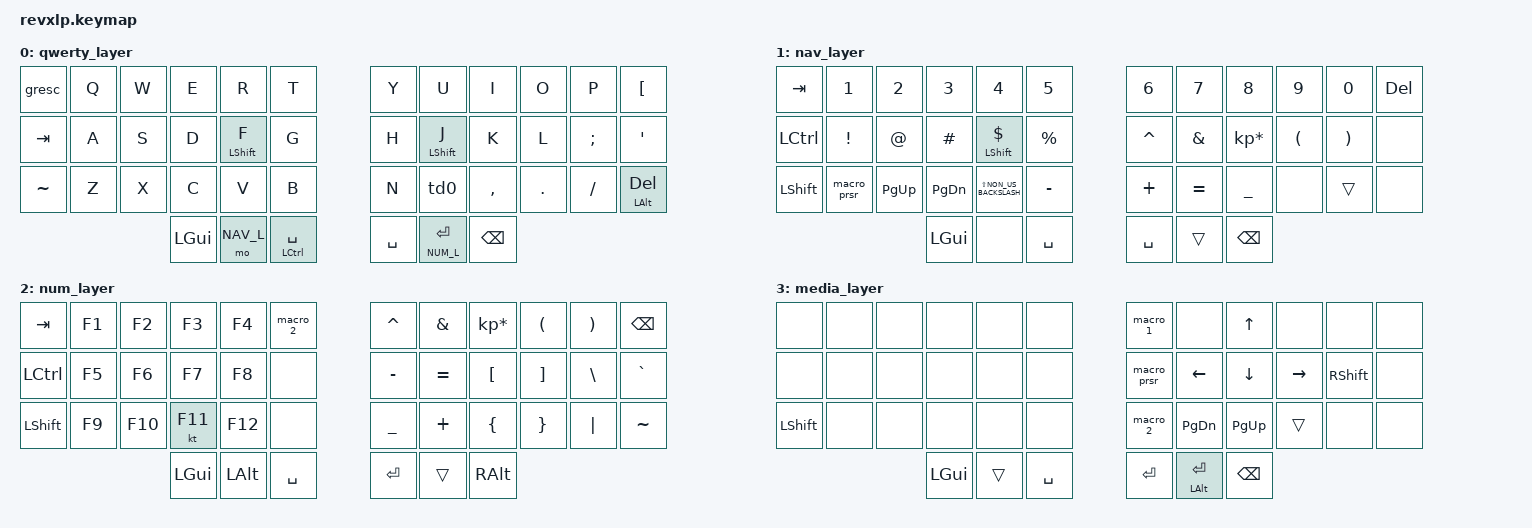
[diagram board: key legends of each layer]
/*
 * Copyright (c) 2020 The ZMK Contributors
 *
 * SPDX-License-Identifier: MIT
 */

#include <behaviors.dtsi>
#include <dt-bindings/zmk/keys.h>
#include <dt-bindings/zmk/bt.h>
#include <dt-bindings/zmk/backlight.h>

#define NAV_L 1
#define NUM_L 2
#define MED_L 3
#define FUN_L 4
#define QWERTY_BASE

/ {
    tap_dances {
    	shifty: shift_caps_word {
		compatible = "zmk,behavior-tap-dance";
		#binding-cells = <0>;
		tapping-term-ms = <150>;
		bindings = <&kp LSHFT>, <&caps_word>;
	};
    };

 behaviors {
        td0: td0 {
            compatible = "zmk,behavior-tap-dance";
            label = "TD0";
            #binding-cells = <0>;
            bindings = <&kp M>, <&kp RBKT>;
        };
    };

macros {
        macro_1: macro_1 {
            compatible = "zmk,behavior-macro";
            #binding-cells = <0>;
            bindings = <&kp LS(P) &kp LS(O) &kp LS(L) &kp J &kp I &kp N9 &kp N8 &kp AMPS &kp U &kp K>;
            label = "MACRO_1";
        };

        macro_2: macro_2 {
            compatible = "zmk,behavior-macro";
            #binding-cells = <0>;
            bindings =
                <&macro_press>,
                <&kp LCTRL &kp LEFT_ALT>,
                <&macro_tap>,
                <&kp DELETE>,
                <&macro_release>,
                <&kp LCTRL &kp LALT>;

            label = "MACRO_2";
        };

        macro_prsr: macro_prsr {
            compatible = "zmk,behavior-macro";
            #binding-cells = <0>;
            bindings =
                <&macro_press>,
                <&kp LGUI &kp LEFT_SHIFT>,
                <&macro_tap>,
                <&kp S>,
                <&macro_release>,
                <&kp LEFT_GUI &kp LEFT_SHIFT>;

            label = "MACRO_PRSR";
        };
    };
//cond_layers {
//        compatible = "zmk,conditional-layers";
//	tri {
//	    if-layers = <NUM_L NAV_L>;
//	    then-layer = <MED_L>;
 //       };
//    };

    combos {
        compatible = "zmk,combos";

        lang_swap {
            bindings = <&kp LG(SPACE)>;
            key-positions = <27 28>;
        };

  lvl_swap {
            bindings = <&mo MED_L>;
            key-positions = <3 4>;
        };
	l_curly_bracket {
	    timeout-ms = <50>;
            key-positions = <2 14>;
            bindings = <&kp LS(LBKT)>;
	    layers = <NUM_L>;
	};

	r_curly_bracket {
	    timeout-ms = <50>;
            key-positions = <4 16>;
            bindings = <&kp LS(RBKT)>;
	    layers = <NUM_L>;
	};

	lbracket {
	    timeout-ms = <50>;
            key-positions = <14 26>;
            bindings = <&kp LBKT>;
	    layers = <NUM_L>;
	};

	rbracket {
	    timeout-ms = <50>;
            key-positions = <16 28>;
            bindings = <&kp RBKT>;
	    layers = <NUM_L>;
	};

	ques_mark_combo {
	    timeout-ms = <50>;
            key-positions = <21 33>;
            bindings = <&kp LS(FSLH)>;
	};

	bslash_combo {
	    timeout-ms = <50>;
            key-positions = <10 22>;
            bindings = <&kp BSLH>;
	};

	fslash_combo {
	    timeout-ms = <50>;
            key-positions = <22 34>;
            bindings = <&kp FSLH>;
	};

	bootloader_combo {
	    timeout-ms = <50>;
            key-positions = <5 6>;
            bindings = <&bootloader>;
	    layers = <MED_L>;
	};

	gui_combo {
	    timeout-ms = <50>;
            key-positions = <16 19>;
            bindings = <&kp LGUI>;
	    layers = <MED_L>;
	};
    };

    keymap {
        compatible = "zmk,keymap";

#ifdef QWERTY_BASE
        qwerty_layer {
            bindings = <
       &gresc           &kp Q      &kp W      &kp E       &kp R                 &kp T         &kp Y            &kp U                 &kp I       &kp O      &kp P     &kp LBKT
       &kp TAB    &kp A      &kp S      &kp D       &mt LSHIFT F          &kp G         &kp H            &mt LSHIFT J          &kp K       &kp L      &kp SEMI  &kp SQT
       &kp TILDE  &kp Z      &kp X      &kp C       &kp V                 &kp B         &kp N            &td0                &kp COMMA   &kp DOT    &kp FSLH  &mt LALT DEL
                                          &kp LGUI   &mo NAV_L      &mt LCTRL SPACE      &kp SPACE  &lt NUM_L RET &kp BACKSPACE
            >;
        };
#else
        colemak_dhm_layer {
            bindings = <
       &none        &kp Q      &kp W      &kp F       &kp P          &kp B         &kp J            &kp L          &kp U       &kp Y      &kp QUOT &none
       &none        &kp A      &kp R      &kp S       &kp T          &kp G         &kp M            &kp N          &kp E       &kp I      &kp O    &none
       &none        &kp Z      &kp X      &kp C       &kp D          &kp V         &kp K            &kp H          &kp COMMA   &kp DOT    &kp SEMI &none     
                                          &none       &mo NAV_L      &shifty      &kp SPACE        &mo NUM_L  &kp BACKSPACE
            >;
        };
#endif

        nav_layer {
            bindings = <
&kp TAB    &kp N1       &kp N2     &kp N3     &kp N4                    &kp N5       &kp N6     &kp N7     &kp N8           &kp N9    &kp N0    &kp DEL
&kp LCTRL  &kp EXCL     &kp AT     &kp HASH   &mt LSHIFT DOLLAR         &kp PRCNT    &kp CARET  &kp AMPS   &kp KP_MULTIPLY  &kp LPAR  &kp RPAR  &none
&kp LSHFT  &macro_prsr  &kp PG_UP  &kp PG_DN  &kp LS(NON_US_BACKSLASH)  &kp MINUS    &kp PLUS   &kp EQUAL  &kp UNDER        &none     &trans    &none
                                   &kp LGUI   &none                     &kp SPACE    &kp SPACE  &trans     &kp BACKSPACE
            >;
        };

        num_layer {
            bindings = <
&kp TAB    &kp F1  &kp F2   &kp F3    &kp F4    &macro_2     &kp CARET  &kp AMPS   &kp KP_MULTIPLY  &kp LPAR  &kp RPAR  &kp BSPC
&kp LCTRL  &kp F5  &kp F6   &kp F7    &kp F8    &none        &kp MINUS  &kp EQUAL  &kp LBKT         &kp RBKT  &kp BSLH  &kp GRAVE
&kp LSHFT  &kp F9  &kp F10  &kt F11   &kp F12   &none        &kp UNDER  &kp PLUS   &kp LBRC         &kp RBRC  &kp PIPE  &kp TILDE
                            &kp LGUI  &kp LALT  &kp SPACE    &kp RET    &trans     &kp RALT
            >;
        };

        media_layer {
            bindings = <
&none      &none  &none  &none     &none   &none        &macro_1       &none               &kp UP         &none            &none            &none
&none      &none  &none  &none     &none   &none        &macro_prsr    &kp LEFT            &kp DOWN       &kp RIGHT_ARROW  &kp RIGHT_SHIFT  &none
&kp LSHFT  &none  &none  &none     &none   &none        &macro_2       &kp PAGE_DOWN       &kp PAGE_UP    &trans           &none            &none
                         &kp LGUI  &trans  &kp SPACE    &kp RET        &mt LEFT_ALT ENTER  &kp BACKSPACE
            >;
        };
    };
};
